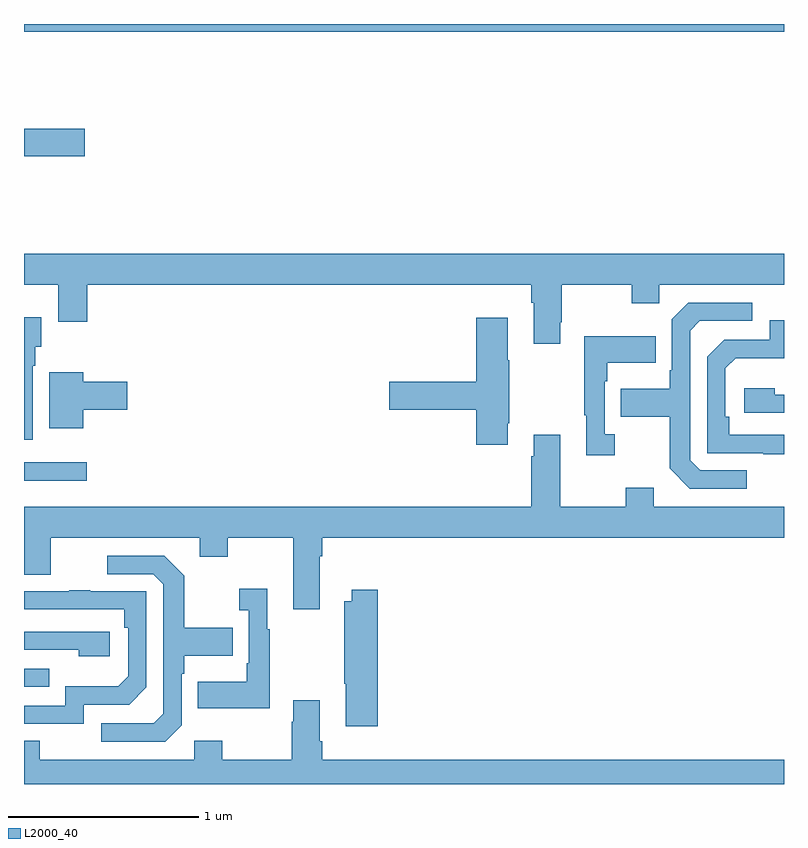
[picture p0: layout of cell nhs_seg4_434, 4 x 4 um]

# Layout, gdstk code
import gdstk
lib = gdstk.Library(unit=1e-6, precision=1e-09)
def R(c, l, rs):  # rectangles x0, y0, x1, y1
    for r in rs: c.add(gdstk.rectangle(r[:2], r[2:], *l))
def P(c, l, *ps):  # polygons
    for p in ps: c.add(gdstk.Polygon(p, *l))
L2000_40 = (2000, 40)

nhs_seg4_434 = lib.new_cell('nhs_seg4_434')
R(nhs_seg4_434, L2000_40, [(133,753.411,133.133,753.507), (133,754.496,133.33,754.593), (133,756.203,133.321,756.35), (133,756.86,137,756.9)])
P(nhs_seg4_434, L2000_40, [(135.823,755.329),(135.831,755.329),(135.831,755.528),(136.198,755.528),(136.198,755.429),(136.344,755.429),(136.344,755.528),(137,755.528),(137,755.692),(133,755.692),(133,755.528),(133.181,755.528),(133.181,755.334),(133.334,755.334),(133.334,755.528),(135.671,755.528),(135.671,755.432),(135.683,755.432),(135.683,755.217),(135.823,755.217)],
  [(136.804,754.551),(136.56,754.551),(136.506,754.605),(136.506,755.286),(136.557,755.337),(136.834,755.337),(136.834,755.433),(136.497,755.433),(136.41,755.346),(136.41,755.077),(136.398,755.077),(136.398,754.981),(136.141,754.981),(136.141,754.834),(136.398,754.834),(136.398,754.561),(136.503,754.455),(136.804,754.455)],
  [(133.045,755.102),(133.06,755.102),(133.06,755.202),(133.09,755.202),(133.09,755.356),(133,755.356),(133,754.713),(133.045,754.713)],
  [(135.547,754.798),(135.555,754.798),(135.555,755.129),(135.547,755.129),(135.547,755.353),(135.38,755.353),(135.38,755.018),(134.922,755.018),(134.922,754.871),(135.38,754.871),(135.38,754.686),(135.547,754.686)],
  [(137,754.737),(136.712,754.737),(136.712,754.834),(136.692,754.834),(136.692,755.088),(136.745,755.141),(137,755.141),(137,755.34),(136.926,755.34),(136.926,755.238),(136.686,755.238),(136.596,755.148),(136.596,754.641),(136.891,754.641),(136.891,754.636),(137,754.636)],
  [(136.108,754.742),(136.056,754.742),(136.056,755.021),(136.069,755.021),(136.069,755.117),(136.325,755.117),(136.325,755.257),(135.948,755.257),(135.948,754.841),(135.959,754.841),(135.959,754.629),(136.108,754.629)],
  [(133.312,754.871),(133.543,754.871),(133.543,755.018),(133.312,755.018),(133.312,755.068),(133.133,755.068),(133.133,754.772),(133.312,754.772)],
  [(137,754.95),(136.952,754.95),(136.952,754.984),(136.791,754.984),(136.791,754.854),(137,754.854)],
  [(134.557,754.1),(134.57,754.1),(134.57,754.196),(137,754.196),(137,754.36),(136.315,754.36),(136.315,754.459),(136.168,754.459),(136.168,754.36),(135.823,754.36),(135.823,754.738),(135.683,754.738),(135.683,754.625),(135.671,754.625),(135.671,754.36),(133,754.36),(133,754.196),(133.001,754.196),(133.001,754.002),(133.141,754.002),(133.141,754.196),(133.925,754.196),(133.925,754.097),(134.073,754.097),(134.073,754.196),(134.417,754.196),(134.417,753.819),(134.557,753.819)],
  [(133.83,753.21),(133.83,753.479),(133.843,753.479),(133.843,753.575),(134.099,753.575),(134.099,753.723),(133.843,753.723),(133.843,753.995),(133.737,754.101),(133.437,754.101),(133.437,754.005),(133.68,754.005),(133.734,753.951),(133.734,753.27),(133.683,753.219),(133.407,753.219),(133.407,753.123),(133.743,753.123)],
  [(134.293,753.715),(134.281,753.715),(134.281,753.928),(134.133,753.928),(134.133,753.815),(134.184,753.815),(134.184,753.535),(134.172,753.535),(134.172,753.439),(133.915,753.439),(133.915,753.299),(134.293,753.299)],
  [(134.861,753.922),(134.726,753.922),(134.726,753.862),(134.686,753.862),(134.686,753.427),(134.693,753.427),(134.693,753.204),(134.861,753.204)],
  [(133.314,753.318),(133.554,753.318),(133.644,753.408),(133.644,753.915),(133.349,753.915),(133.349,753.92),(133.237,753.92),(133.237,753.915),(133,753.915),(133,753.819),(133.528,753.819),(133.528,753.722),(133.548,753.722),(133.548,753.468),(133.495,753.415),(133.218,753.415),(133.218,753.312),(133,753.312),(133,753.216),(133.314,753.216)],
  [(133.45,753.702),(133,753.702),(133,753.606),(133.289,753.606),(133.289,753.572),(133.45,753.572)],
  [(137,753.028),(134.57,753.028),(134.57,753.124),(134.557,753.124),(134.557,753.34),(134.417,753.34),(134.417,753.227),(134.41,753.227),(134.41,753.028),(134.043,753.028),(134.043,753.127),(133.896,753.127),(133.896,753.028),(133.083,753.028),(133.083,753.127),(133,753.127),(133,752.9),(137,752.9)])

lib.write_gds('nhs_seg4_434.gds')
